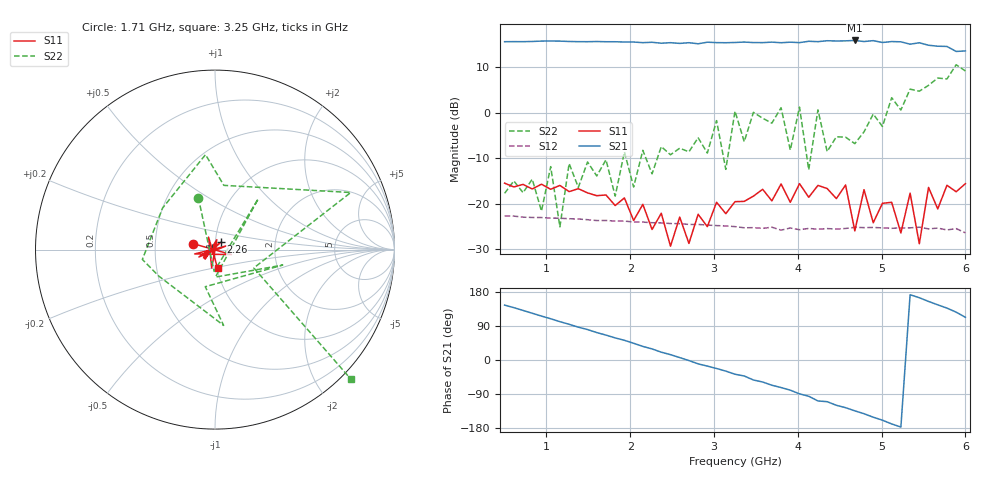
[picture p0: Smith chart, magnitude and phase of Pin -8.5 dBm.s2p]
! RsaToolbox (C) 2015 Rohde & Schwarz America
! Number of points: 51
! Number of ports: 2
! Balanced ports?: No
# Hz S RI R 50
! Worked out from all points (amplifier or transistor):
!   51 points, 500 MHz to 6 GHz, reference 50 ohm
!   highest |S21| = 15.9 dB at 4.68 GHz (marker M1)
!   |S21| within 3 dB of that: start of sweep to end of sweep
!   unconditionally stable (mu >= 1): start of sweep to 3.003 GHz; 3.047 GHz to 3.219 GHz; 4.29 GHz to 4.798 GHz (the widest 3 of 6)
!   at 1.38 GHz: K = 1.35, MAG = 15.9 dB, |S12| = -23.3 dB
!   at 3.25 GHz: K = 0.10, MSG = 20.2 dB, |S12| = -25.0 dB
!   at 6 GHz: K = -15.13, MSG = 20.0 dB, |S12| = -26.4 dB
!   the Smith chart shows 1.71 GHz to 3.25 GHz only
!   S11 on the Smith chart (normalised r, x): 1.71 GHz: 0.78, +0.05; 2.26 GHz: 1.06, +0.09; 3.25 GHz: 1.01, -0.21
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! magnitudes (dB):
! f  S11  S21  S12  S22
! 500 MHz  -15.5  15.6  -22.6  -17.7
! 940 MHz  -15.7  15.7  -23.0  -21.6
! 1.05 GHz  -16.8  15.8  -23.1  -11.8
! 1.16 GHz  -16.0  15.7  -23.2  -25.1
! 1.27 GHz  -17.3  15.7  -23.3  -11.1
! 1.49 GHz  -17.6  15.6  -23.5  -10.8
! 1.71 GHz  -18.0  15.6  -23.7  -10.3
! 2.26 GHz  -25.6  15.5  -24.1  -13.4
! 2.37 GHz  -22.1  15.3  -24.2  -7.4
! 3.03 GHz  -19.6  15.4  -24.8  -1.7
! 3.14 GHz  -22.2  15.4  -24.9  -12.4
! 3.25 GHz  -19.5  15.4  -25.0  0.4
! 3.91 GHz  -19.7  15.5  -25.3  -8.2
! 4.02 GHz  -15.6  15.4  -25.7  1.2
! 4.13 GHz  -18.6  15.7  -25.4  -12.5
! 4.24 GHz  -16.0  15.6  -25.6  0.6
! 4.68 GHz  -25.9  15.9  -25.2  -6.8
! 5.12 GHz  -19.7  15.6  -25.4  3.3
! 5.34 GHz  -17.6  15.1  -25.3  5.2
! 5.45 GHz  -28.8  15.4  -25.1  4.7
! 5.56 GHz  -16.4  14.8  -25.5  6.0
! 6 GHz  -15.6  13.6  -26.4  9.2
